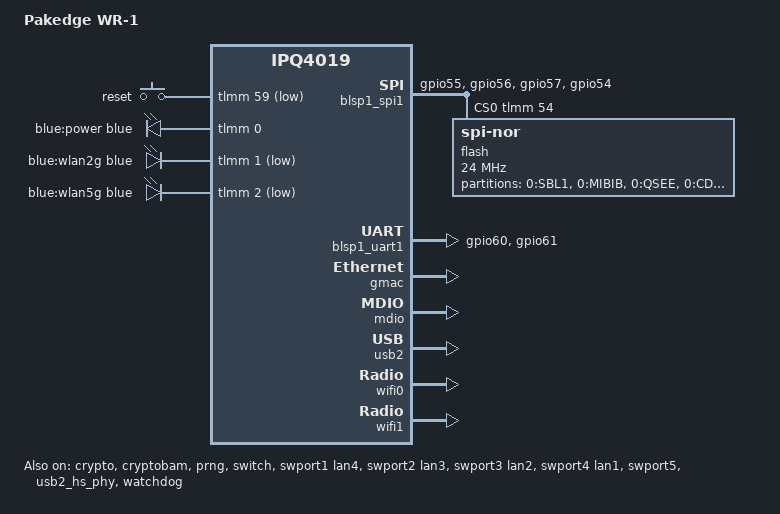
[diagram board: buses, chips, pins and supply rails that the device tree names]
// SPDX-License-Identifier: GPL-2.0-or-later OR MIT

#include "qcom-ipq4019.dtsi"
#include <dt-bindings/gpio/gpio.h>
#include <dt-bindings/input/input.h>
#include <dt-bindings/leds/common.h>
#include <dt-bindings/soc/qcom,tcsr.h>

/ {
	model = "Pakedge WR-1";
	compatible = "pakedge,wr-1";

	aliases {
		label-mac-device = &gmac;
		led-boot = &led_power;
		led-failsafe = &led_power;
		led-running = &led_power;
		led-upgrade = &led_power;
	};

	keys {
		compatible = "gpio-keys";
		pinctrl-0 = <&key_pins>;
		pinctrl-names = "default";

		reset {
			label = "reset";
			gpios = <&tlmm 59 GPIO_ACTIVE_LOW>;
			linux,code = <KEY_RESTART>;
		};
	};

	leds {
		compatible = "gpio-leds";
		pinctrl-0 = <&led_pins>;
		pinctrl-names = "default";

		led_power: power {
			label = "blue:power";
			gpios = <&tlmm 0 GPIO_ACTIVE_HIGH>;
			color = <LED_COLOR_ID_BLUE>;
			function = LED_FUNCTION_POWER;
		};

		wlan2g {
			label = "blue:wlan2g";
			gpios = <&tlmm 1 GPIO_ACTIVE_LOW>;
			color = <LED_COLOR_ID_BLUE>;
			function = LED_FUNCTION_WLAN;
			linux,default-trigger = "phy0tpt";
		};

		wlan5g {
			label = "blue:wlan5g";
			gpios = <&tlmm 2 GPIO_ACTIVE_LOW>;
			color = <LED_COLOR_ID_BLUE>;
			function = LED_FUNCTION_WLAN;
			linux,default-trigger = "phy1tpt";
		};
	};

	soc {
		tcsr@1949000 {
			compatible = "qcom,tcsr";
			reg = <0x1949000 0x100>;
			qcom,wifi_glb_cfg = <TCSR_WIFI_GLB_CFG>;
		};

		tcsr@194b000 {
			compatible = "qcom,tcsr";
			reg = <0x194b000 0x100>;
			qcom,usb-hsphy-mode-select = <TCSR_USB_HSPHY_HOST_MODE>;
		};

		ess_tcsr@1953000 {
			compatible = "qcom,tcsr";
			reg = <0x1953000 0x1000>;
			qcom,ess-interface-select = <TCSR_ESS_PSGMII>;
		};

		tcsr@1957000 {
			compatible = "qcom,tcsr";
			reg = <0x1957000 0x100>;
			qcom,wifi_noc_memtype_m0_m2 = <TCSR_WIFI_NOC_MEMTYPE_M0_M2>;
		};
	};
};

&blsp_dma {
	status = "okay";
};

&blsp1_spi1 {
	status = "okay";

	cs-gpios = <&tlmm 54 GPIO_ACTIVE_HIGH>;
	pinctrl-0 = <&spi_0_pins>;
	pinctrl-names = "default";

	flash@0 {
		compatible = "jedec,spi-nor";
		reg = <0>;
		spi-max-frequency = <24000000>;

		partitions {
			compatible = "fixed-partitions";
			#address-cells = <1>;
			#size-cells = <1>;

			partition@0 {
				label = "0:SBL1";
				reg = <0x0000000 0x0040000>;
				read-only;
			};

			partition@40000 {
				label = "0:MIBIB";
				reg = <0x0040000 0x0020000>;
				read-only;
			};

			partition@60000 {
				label = "0:QSEE";
				reg = <0x0060000 0x0060000>;
				read-only;
			};

			partition@c0000 {
				label = "0:CDT";
				reg = <0x00c0000 0x0010000>;
				read-only;
			};

			partition@d0000 {
				label = "0:DDRPARAMS";
				reg = <0x00d0000 0x0010000>;
				read-only;
			};

			partition@e0000 {
				label = "0:APPSBLENV";
				reg = <0x00e0000 0x0010000>;
				read-only;
			};

			partition@f0000 {
				label = "0:APPSBL";
				reg = <0x00f0000 0x0080000>;
				read-only;
			};

			partition@170000 {
				label = "0:ART";
				reg = <0x0170000 0x0010000>;
				read-only;
			};

			partition@180000 {
				label = "firmware";
				reg = <0x0180000 0x1e80000>;
			};
		};
	};
};

&blsp1_uart1 {
	status = "okay";

	pinctrl-0 = <&serial_pins>;
	pinctrl-names = "default";
};

&crypto {
	status = "okay";
};

&cryptobam {
	status = "okay";
};

&gmac {
	status = "okay";
};

&mdio {
	status = "okay";
};

&prng {
	status = "okay";
};

&switch {
	status = "okay";
};

&swport1 {
	status = "okay";

	label = "lan4";
};

&swport2 {
	status = "okay";

	label = "lan3";
};

&swport3 {
	status = "okay";

	label = "lan2";
};

&swport4 {
	status = "okay";

	label = "lan1";
};

&swport5 {
	status = "okay";
};

&tlmm {
	key_pins: key_pinmux {
		mux {
			function = "gpio";
			pins = "gpio59";
			bias-pull-up;
		};
	};

	led_pins: led_pinmux {
		mux {
			function = "gpio";
			pins = "gpio0", "gpio1", "gpio2";
			bias-none;
			drive-strength = <2>;
			output-low;
		};
	};

	serial_pins: serial_pinmux {
		mux {
			function = "blsp_uart0";
			pins = "gpio60", "gpio61";
			bias-disable;
		};
	};

	spi_0_pins: spi_0_pinmux {
		mux {
			function = "blsp_spi0";
			pins = "gpio55", "gpio56", "gpio57";
			bias-disable;
			drive-strength = <12>;
		};

		mux_cs {
			function = "gpio";
			pins = "gpio54";
			bias-disable;
			drive-strength = <2>;
			output-high;
		};
	};
};

&usb2 {
	status = "okay";
};

&usb2_hs_phy {
	status = "okay";
};

&watchdog {
	status = "okay";
};

&wifi0 {
	status = "okay";

	qcom,ath10k-calibration-variant = "Pakedge-WR-1";
};

&wifi1 {
	status = "okay";

	qcom,ath10k-calibration-variant = "Pakedge-WR-1";
};
